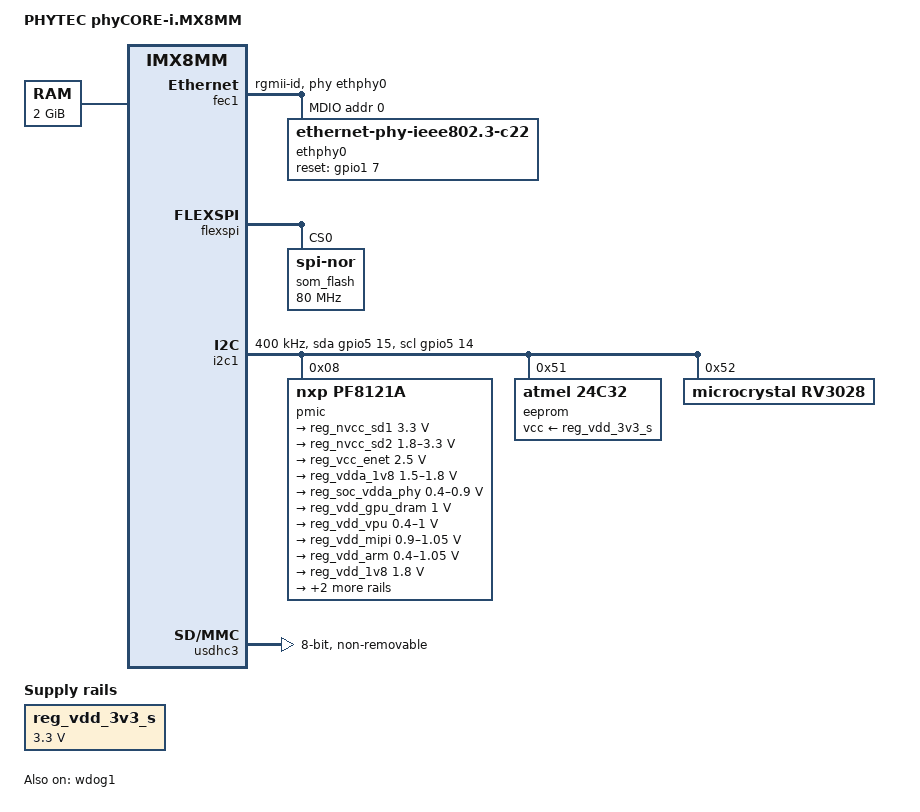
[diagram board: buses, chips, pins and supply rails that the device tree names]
// SPDX-License-Identifier: GPL-2.0
/*
 * Copyright (C) 2022 PHYTEC Messtechnik GmbH
 * Author: Teresa Remmet <t.remmet@phytec.de>
 */

#include "imx8mm.dtsi"
#include <dt-bindings/net/ti-dp83867.h>

/ {
	model = "PHYTEC phyCORE-i.MX8MM";
	compatible = "phytec,imx8mm-phycore-som", "fsl,imx8mm";

	aliases {
		rtc0 = &rv3028;
		rtc1 = &snvs_rtc;
	};

	memory@40000000 {
		device_type = "memory";
		reg = <0x0 0x40000000 0 0x80000000>;
	};

	reg_vdd_3v3_s: regulator-vdd-3v3-s {
		compatible = "regulator-fixed";
		regulator-always-on;
		regulator-boot-on;
		regulator-max-microvolt = <3300000>;
		regulator-min-microvolt = <3300000>;
		regulator-name = "VDD_3V3_S";
	};
};

&A53_0 {
	cpu-supply = <&reg_vdd_arm>;
};

&A53_1 {
	cpu-supply = <&reg_vdd_arm>;
};

&A53_2 {
	cpu-supply = <&reg_vdd_arm>;
};

&A53_3 {
	cpu-supply = <&reg_vdd_arm>;
};

&ddrc {
	operating-points-v2 = <&ddrc_opp_table>;

	ddrc_opp_table: opp-table {
		compatible = "operating-points-v2";

		opp-25000000 {
			opp-hz = /bits/ 64 <25000000>;
		};

		opp-100000000 {
			opp-hz = /bits/ 64 <100000000>;
		};

		opp-750000000 {
			opp-hz = /bits/ 64 <750000000>;
		};
	};
};

/* Ethernet */
&fec1 {
	phy-mode = "rgmii-id";
	phy-handle = <&ethphy0>;
	pinctrl-names = "default";
	pinctrl-0 = <&pinctrl_fec1>;
	status = "okay";

	mdio {
		#address-cells = <1>;
		#size-cells = <0>;

		ethphy0: ethernet-phy@0 {
			compatible = "ethernet-phy-ieee802.3-c22";
			enet-phy-lane-no-swap;
			ti,clk-output-sel = <DP83867_CLK_O_SEL_OFF>;
			ti,fifo-depth = <DP83867_PHYCR_FIFO_DEPTH_4_B_NIB>;
			ti,rx-internal-delay = <DP83867_RGMIIDCTL_2_00_NS>;
			ti,tx-internal-delay = <DP83867_RGMIIDCTL_2_00_NS>;
			reg = <0>;
			reset-gpios = <&gpio1 7 GPIO_ACTIVE_HIGH>;
			reset-assert-us = <1000>;
			reset-deassert-us = <1000>;
		};
	};
};

/* SPI Flash */
&flexspi {
	pinctrl-names = "default";
	pinctrl-0 = <&pinctrl_flexspi0>;
	status = "okay";

	som_flash: flash@0 {
		#address-cells = <1>;
		#size-cells = <1>;
		compatible = "jedec,spi-nor";
		reg = <0>;
		spi-max-frequency = <80000000>;
		spi-rx-bus-width = <4>;
		spi-tx-bus-width = <1>;
	};
};

&gpio1 {
	gpio-line-names = "", "", "WDOG_INT", "X_RTC_INT",
		"", "", "", "RESET_ETHPHY",
		"", "", "nENABLE_FLATLINK";
};

/* I2C1 */
&i2c1 {
	clock-frequency = <400000>;
	pinctrl-names = "default","gpio";
	pinctrl-0 = <&pinctrl_i2c1>;
	pinctrl-1 = <&pinctrl_i2c1_gpio>;
	scl-gpios = <&gpio5 14 (GPIO_ACTIVE_HIGH | GPIO_OPEN_DRAIN)>;
	sda-gpios = <&gpio5 15 (GPIO_ACTIVE_HIGH | GPIO_OPEN_DRAIN)>;
	status = "okay";

	pmic@8 {
		compatible = "nxp,pf8121a";
		reg = <0x08>;

		regulators {
			reg_nvcc_sd1: ldo1 {
				regulator-always-on;
				regulator-boot-on;
				regulator-max-microvolt = <3300000>;
				regulator-min-microvolt = <3300000>;
				regulator-name = "NVCC_SD1 (LDO1)";

				regulator-state-mem {
					regulator-off-in-suspend;
				};
			};

			reg_nvcc_sd2: ldo2 {
				regulator-always-on;
				regulator-boot-on;
				regulator-max-microvolt = <3300000>;
				regulator-min-microvolt = <1800000>;
				regulator-name = "NVCC_SD2 (LDO2)";

				regulator-state-mem {
					regulator-off-in-suspend;
				};
			};

			reg_vcc_enet: ldo3 {
				regulator-always-on;
				regulator-boot-on;
				regulator-max-microvolt = <2500000>;
				regulator-min-microvolt = <2500000>;
				regulator-name = "VCC_ENET_2V5 (LDO3)";

				regulator-state-mem {
					regulator-on-in-suspend;
					regulator-suspend-max-microvolt = <2500000>;
					regulator-suspend-min-microvolt = <2500000>;
				};
			};

			reg_vdda_1v8: ldo4 {
				regulator-always-on;
				regulator-boot-on;
				regulator-max-microvolt = <1800000>;
				regulator-min-microvolt = <1500000>;
				regulator-name = "VDDA_1V8 (LDO4)";

				regulator-state-mem {
					regulator-on-in-suspend;
					regulator-suspend-min-microvolt = <1500000>;
					regulator-suspend-max-microvolt = <1500000>;
				};
			};

			reg_soc_vdda_phy: buck1 {
				regulator-always-on;
				regulator-boot-on;
				regulator-max-microvolt = <900000>;
				regulator-min-microvolt = <400000>;
				regulator-name = "VDD_SOC_VDDA_PHY_0P8 (BUCK1)";

				regulator-state-mem {
					regulator-on-in-suspend;
					regulator-suspend-min-microvolt = <400000>;
					regulator-suspend-max-microvolt = <400000>;
				};
			};

			reg_vdd_gpu_dram: buck2 {
				regulator-always-on;
				regulator-boot-on;
				regulator-max-microvolt = <1000000>;
				regulator-min-microvolt = <1000000>;
				regulator-name = "VDD_GPU_DRAM (BUCK2)";

				regulator-state-mem {
					regulator-on-in-suspend;
					regulator-suspend-max-microvolt = <1000000>;
					regulator-suspend-min-microvolt = <1000000>;
				};
			};

			reg_vdd_vpu: buck3 {
				regulator-always-on;
				regulator-boot-on;
				regulator-max-microvolt = <1000000>;
				regulator-min-microvolt = <400000>;
				regulator-name = "VDD_VPU (BUCK3)";

				regulator-state-mem {
					regulator-off-in-suspend;
				};
			};

			reg_vdd_mipi: buck4 {
				regulator-always-on;
				regulator-boot-on;
				regulator-max-microvolt = <1050000>;
				regulator-min-microvolt = <900000>;
				regulator-name = "VDD_MIPI_0P9 (BUCK4)";

				regulator-state-mem {
					regulator-off-in-suspend;
				};
			};

			reg_vdd_arm: buck5 {
				regulator-always-on;
				regulator-boot-on;
				regulator-max-microvolt = <1050000>;
				regulator-min-microvolt = <400000>;
				regulator-name = "VDD_ARM (BUCK5)";

				regulator-state-mem {
					regulator-off-in-suspend;
				};
			};

			reg_vdd_1v8: buck6 {
				regulator-always-on;
				regulator-boot-on;
				regulator-max-microvolt = <1800000>;
				regulator-min-microvolt = <1800000>;
				regulator-name = "VDD_1V8 (BUCK6)";

				regulator-state-mem {
					regulator-on-in-suspend;
					regulator-suspend-max-microvolt = <1800000>;
					regulator-suspend-min-microvolt = <1800000>;
				};
			};

			reg_nvcc_dram: buck7 {
				regulator-always-on;
				regulator-boot-on;
				regulator-max-microvolt = <1100000>;
				regulator-min-microvolt = <1100000>;
				regulator-name = "NVCC_DRAM_1P1V (BUCK7)";
			};

			reg_vsnvs: vsnvs {
				regulator-always-on;
				regulator-boot-on;
				regulator-max-microvolt = <1800000>;
				regulator-min-microvolt = <1800000>;
				regulator-name = "NVCC_SNVS_1P8 (VSNVS)";
			};
		};
	};

	sn65dsi83: bridge@2d {
		compatible = "ti,sn65dsi83";
		enable-gpios = <&gpio1 10 GPIO_ACTIVE_LOW>;
		pinctrl-names = "default";
		pinctrl-0 = <&pinctrl_sn65dsi83>;
		reg = <0x2d>;
		vcc-supply = <&reg_vdd_1v8>;
		status = "disabled";
	};

	/* EEPROM */
	eeprom@51 {
		compatible = "atmel,24c32";
		pagesize = <32>;
		reg = <0x51>;
		vcc-supply = <&reg_vdd_3v3_s>;
	};

	/* RTC */
	rv3028: rtc@52 {
		compatible = "microcrystal,rv3028";
		reg = <0x52>;
	};
};

/* eMMC */
&usdhc3 {
	assigned-clocks = <&clk IMX8MM_CLK_USDHC3_ROOT>;
	assigned-clock-rates = <400000000>;
	bus-width = <8>;
	keep-power-in-suspend;
	pinctrl-names = "default", "state_100mhz", "state_200mhz";
	pinctrl-0 = <&pinctrl_usdhc3>;
	pinctrl-1 = <&pinctrl_usdhc3_100mhz>;
	pinctrl-2 = <&pinctrl_usdhc3_200mhz>;
	non-removable;
	status = "okay";
};

/* Watchdog */
&wdog1 {
	fsl,ext-reset-output;
	pinctrl-names = "default";
	pinctrl-0 = <&pinctrl_wdog>;
	status = "okay";
};

&iomuxc {
	pinctrl_fec1: fec1grp {
		fsl,pins = <
			MX8MM_IOMUXC_ENET_MDC_ENET1_MDC			0x2
			MX8MM_IOMUXC_ENET_MDIO_ENET1_MDIO		0x2
			MX8MM_IOMUXC_ENET_RD0_ENET1_RGMII_RD0		0x90
			MX8MM_IOMUXC_ENET_RD1_ENET1_RGMII_RD1		0x90
			MX8MM_IOMUXC_ENET_RD2_ENET1_RGMII_RD2		0x90
			MX8MM_IOMUXC_ENET_RD3_ENET1_RGMII_RD3		0x90
			MX8MM_IOMUXC_ENET_RXC_ENET1_RGMII_RXC		0x90
			MX8MM_IOMUXC_ENET_RX_CTL_ENET1_RGMII_RX_CTL	0x90
			MX8MM_IOMUXC_ENET_TD0_ENET1_RGMII_TD0		0x16
			MX8MM_IOMUXC_ENET_TD1_ENET1_RGMII_TD1		0x16
			MX8MM_IOMUXC_ENET_TD2_ENET1_RGMII_TD2		0x12
			MX8MM_IOMUXC_ENET_TD3_ENET1_RGMII_TD3		0x12
			MX8MM_IOMUXC_ENET_TXC_ENET1_RGMII_TXC		0x12
			MX8MM_IOMUXC_ENET_TX_CTL_ENET1_RGMII_TX_CTL	0x12
			MX8MM_IOMUXC_GPIO1_IO07_GPIO1_IO7		0x10
		>;
	};

	pinctrl_flexspi0: flexspi0grp {
		fsl,pins = <
			MX8MM_IOMUXC_NAND_ALE_QSPI_A_SCLK		0x1c2
			MX8MM_IOMUXC_NAND_CE0_B_QSPI_A_SS0_B		0x82
			MX8MM_IOMUXC_NAND_DATA00_QSPI_A_DATA0		0x82
			MX8MM_IOMUXC_NAND_DATA01_QSPI_A_DATA1		0x82
			MX8MM_IOMUXC_NAND_DATA02_QSPI_A_DATA2		0x82
			MX8MM_IOMUXC_NAND_DATA03_QSPI_A_DATA3		0x82
		>;
	};

	pinctrl_i2c1: i2c1grp {
		fsl,pins = <
			MX8MM_IOMUXC_I2C1_SDA_I2C1_SDA			0x400001c0
			MX8MM_IOMUXC_I2C1_SCL_I2C1_SCL			0x400001c0
		>;
	};

	pinctrl_i2c1_gpio: i2c1gpiogrp {
		fsl,pins = <
			MX8MM_IOMUXC_I2C1_SDA_GPIO5_IO15		0x1e0
			MX8MM_IOMUXC_I2C1_SCL_GPIO5_IO14		0x1e0
		>;
	};

	pinctrl_sn65dsi83: sn65dsi83grp {
		fsl,pins = <
			MX8MM_IOMUXC_GPIO1_IO10_GPIO1_IO10		0x0
		>;
	};

	pinctrl_usdhc3: usdhc3grp {
		fsl,pins = <
			MX8MM_IOMUXC_NAND_CLE_USDHC3_DATA7		0x1d0
			MX8MM_IOMUXC_NAND_CE1_B_USDHC3_STROBE		0x190
			MX8MM_IOMUXC_NAND_CE2_B_USDHC3_DATA5		0x1d0
			MX8MM_IOMUXC_NAND_CE3_B_USDHC3_DATA6		0x1d0
			MX8MM_IOMUXC_NAND_DATA04_USDHC3_DATA0		0x1d0
			MX8MM_IOMUXC_NAND_DATA05_USDHC3_DATA1		0x1d0
			MX8MM_IOMUXC_NAND_DATA06_USDHC3_DATA2		0x1d0
			MX8MM_IOMUXC_NAND_DATA07_USDHC3_DATA3		0x1d0
			MX8MM_IOMUXC_NAND_RE_B_USDHC3_DATA4		0x1d0
			MX8MM_IOMUXC_NAND_WE_B_USDHC3_CLK		0x190
			MX8MM_IOMUXC_NAND_WP_B_USDHC3_CMD		0x1d0
		>;
	};

	pinctrl_usdhc3_100mhz: usdhc3-100mhzgrp {
		fsl,pins = <
			MX8MM_IOMUXC_NAND_CLE_USDHC3_DATA7		0x1d4
			MX8MM_IOMUXC_NAND_CE1_B_USDHC3_STROBE		0x194
			MX8MM_IOMUXC_NAND_CE2_B_USDHC3_DATA5		0x1d4
			MX8MM_IOMUXC_NAND_CE3_B_USDHC3_DATA6		0x1d4
			MX8MM_IOMUXC_NAND_DATA04_USDHC3_DATA0		0x1d4
			MX8MM_IOMUXC_NAND_DATA05_USDHC3_DATA1		0x1d4
			MX8MM_IOMUXC_NAND_DATA06_USDHC3_DATA2		0x1d4
			MX8MM_IOMUXC_NAND_DATA07_USDHC3_DATA3		0x1d4
			MX8MM_IOMUXC_NAND_RE_B_USDHC3_DATA4		0x1d4
			MX8MM_IOMUXC_NAND_WE_B_USDHC3_CLK		0x194
			MX8MM_IOMUXC_NAND_WP_B_USDHC3_CMD		0x1d4
		>;
	};

	pinctrl_usdhc3_200mhz: usdhc3-200mhzgrp {
		fsl,pins = <
			MX8MM_IOMUXC_NAND_CLE_USDHC3_DATA7		0x1d6
			MX8MM_IOMUXC_NAND_CE1_B_USDHC3_STROBE		0x196
			MX8MM_IOMUXC_NAND_CE2_B_USDHC3_DATA5		0x1d6
			MX8MM_IOMUXC_NAND_CE3_B_USDHC3_DATA6		0x1d6
			MX8MM_IOMUXC_NAND_DATA04_USDHC3_DATA0		0x1d6
			MX8MM_IOMUXC_NAND_DATA05_USDHC3_DATA1		0x1d6
			MX8MM_IOMUXC_NAND_DATA06_USDHC3_DATA2		0x1d6
			MX8MM_IOMUXC_NAND_DATA07_USDHC3_DATA3		0x1d6
			MX8MM_IOMUXC_NAND_RE_B_USDHC3_DATA4		0x1d6
			MX8MM_IOMUXC_NAND_WE_B_USDHC3_CLK		0x196
			MX8MM_IOMUXC_NAND_WP_B_USDHC3_CMD		0x1d6
		>;
	};

	pinctrl_wdog: wdoggrp {
		fsl,pins = <
			MX8MM_IOMUXC_GPIO1_IO02_WDOG1_WDOG_B		0x26
		>;
	};
};
